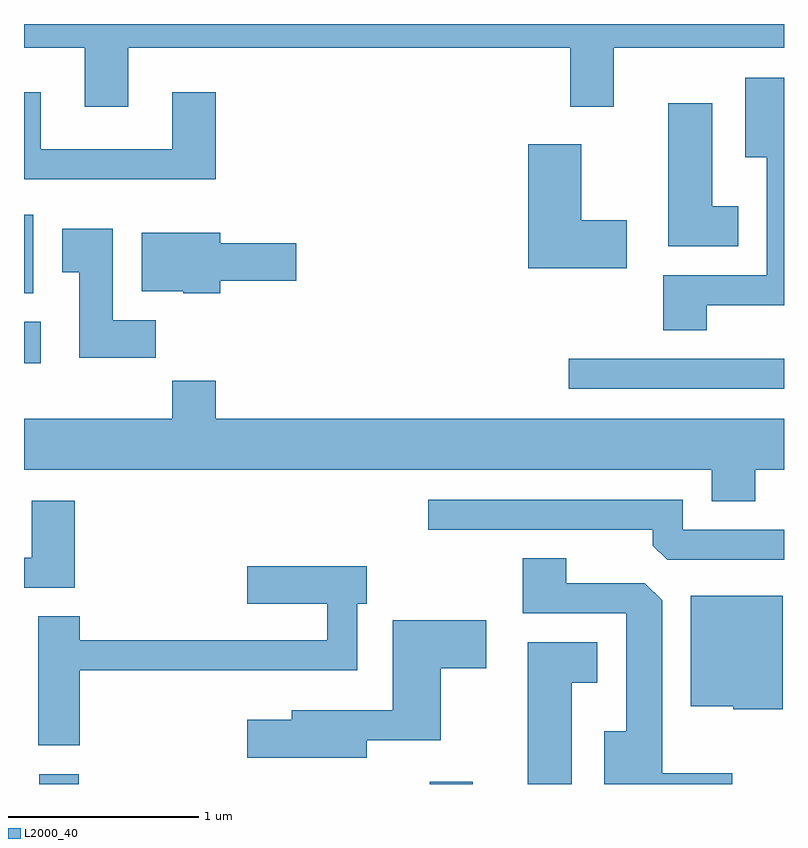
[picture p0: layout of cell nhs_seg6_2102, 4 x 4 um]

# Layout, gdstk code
import gdstk
lib = gdstk.Library(unit=1e-6, precision=1e-09)
def R(c, l, rs):  # rectangles x0, y0, x1, y1
    for r in rs: c.add(gdstk.rectangle(r[:2], r[2:], *l))
def P(c, l, *ps):  # polygons
    for p in ps: c.add(gdstk.Polygon(p, *l))
L2000_40 = (2000, 40)

nhs_seg6_2102 = lib.new_cell('nhs_seg6_2102')
R(nhs_seg6_2102, L2000_40, [(249.691,1546.162,249.899,1546.214), (251.746,1546.162,251.974,1546.174), (252.478,1548.241,253.611,1548.399), (249.611,1548.376,249.699,1548.594), (249.611,1548.746,249.659,1549.159)])
P(nhs_seg6_2102, L2000_40, [(250.159,1550.036),(252.486,1550.036),(252.486,1549.726),(252.714,1549.726),(252.714,1550.036),(253.611,1550.036),(253.611,1550.162),(249.611,1550.162),(249.611,1550.036),(249.931,1550.036),(249.931,1549.726),(250.159,1549.726)],
  [(253.204,1548.681),(253.611,1548.681),(253.611,1549.879),(253.406,1549.879),(253.406,1549.461),(253.521,1549.461),(253.521,1548.839),(252.976,1548.839),(252.976,1548.551),(253.204,1548.551)],
  [(250.619,1549.804),(250.391,1549.804),(250.391,1549.504),(249.699,1549.504),(249.699,1549.804),(249.611,1549.804),(249.611,1549.346),(250.619,1549.346)],
  [(253.369,1549.204),(253.234,1549.204),(253.234,1549.744),(253.001,1549.744),(253.001,1548.991),(253.369,1548.991)],
  [(252.784,1549.129),(252.544,1549.129),(252.544,1549.529),(252.266,1549.529),(252.266,1548.876),(252.784,1548.876)],
  [(250.304,1548.604),(250.079,1548.604),(250.079,1549.084),(249.811,1549.084),(249.811,1548.856),(249.901,1548.856),(249.901,1548.406),(250.304,1548.406)],
  [(250.644,1548.811),(251.044,1548.811),(251.044,1549.009),(250.644,1549.009),(250.644,1549.064),(250.231,1549.064),(250.231,1548.756),(250.45,1548.756),(250.45,1548.746),(250.644,1548.746)],
  [(253.459,1547.816),(253.611,1547.816),(253.611,1548.084),(250.619,1548.084),(250.619,1548.284),(250.391,1548.284),(250.391,1548.084),(249.611,1548.084),(249.611,1547.816),(253.231,1547.816),(253.231,1547.651),(253.459,1547.651)],
  [(253.611,1547.499),(253.079,1547.499),(253.079,1547.659),(251.738,1547.659),(251.738,1547.501),(252.921,1547.501),(252.921,1547.417),(252.997,1547.341),(253.611,1547.341)],
  [(249.879,1547.654),(249.651,1547.654),(249.651,1547.354),(249.611,1547.354),(249.611,1547.196),(249.879,1547.196)],
  [(253.339,1546.219),(252.969,1546.219),(252.969,1547.129),(252.879,1547.219),(252.464,1547.219),(252.464,1547.349),(252.236,1547.349),(252.236,1547.061),(252.781,1547.061),(252.781,1546.439),(252.666,1546.439),(252.666,1546.162),(253.339,1546.162)],
  [(249.904,1546.761),(251.364,1546.761),(251.364,1547.111),(251.414,1547.111),(251.414,1547.309),(250.786,1547.309),(250.786,1547.111),(251.206,1547.111),(251.206,1546.919),(249.904,1546.919),(249.904,1547.044),(249.686,1547.044),(249.686,1546.366),(249.904,1546.366)],
  [(253.604,1547.154),(253.121,1547.154),(253.121,1546.571),(253.345,1546.571),(253.345,1546.556),(253.604,1546.556)],
  [(251.414,1546.391),(251.804,1546.391),(251.804,1546.771),(252.044,1546.771),(252.044,1547.024),(251.551,1547.024),(251.551,1546.549),(251.021,1546.549),(251.021,1546.499),(250.786,1546.499),(250.786,1546.301),(251.414,1546.301)],
  [(252.494,1546.696),(252.629,1546.696),(252.629,1546.909),(252.261,1546.909),(252.261,1546.162),(252.494,1546.162)])

lib.write_gds('nhs_seg6_2102.gds')
